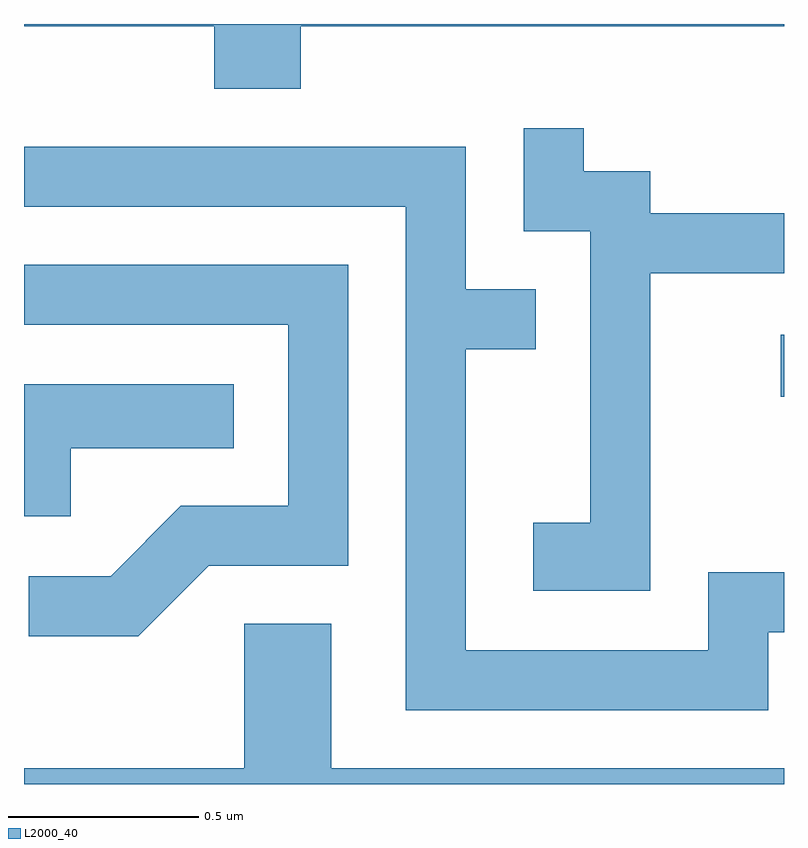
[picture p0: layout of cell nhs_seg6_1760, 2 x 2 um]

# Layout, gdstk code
import gdstk
lib = gdstk.Library(unit=1e-6, precision=1e-09)
def R(c, l, rs):  # rectangles x0, y0, x1, y1
    for r in rs: c.add(gdstk.rectangle(r[:2], r[2:], *l))
def P(c, l, *ps):  # polygons
    for p in ps: c.add(gdstk.Polygon(p, *l))
L2000_40 = (2000, 40)

nhs_seg6_1760 = lib.new_cell('nhs_seg6_1760')
R(nhs_seg6_1760, L2000_40, [(199.603,1651.181,199.611,1651.344)])
P(nhs_seg6_1760, L2000_40, [(198.339,1652.156),(199.611,1652.156),(199.611,1652.162),(197.611,1652.162),(197.611,1652.156),(198.111,1652.156),(198.111,1651.991),(198.339,1651.991)],
  [(199.259,1651.506),(199.611,1651.506),(199.611,1651.664),(199.259,1651.664),(199.259,1651.774),(199.084,1651.774),(199.084,1651.888),(198.926,1651.888),(198.926,1651.616),(199.101,1651.616),(199.101,1650.849),(198.951,1650.849),(198.951,1650.671),(199.259,1650.671)],
  [(199.569,1650.561),(199.611,1650.561),(199.611,1650.719),(199.411,1650.719),(199.411,1650.514),(198.774,1650.514),(198.774,1651.306),(198.958,1651.306),(198.958,1651.464),(198.774,1651.464),(198.774,1651.839),(197.611,1651.839),(197.611,1651.681),(198.616,1651.681),(198.616,1650.356),(199.569,1650.356)],
  [(198.097,1650.736),(198.464,1650.736),(198.464,1651.529),(197.611,1651.529),(197.611,1651.371),(198.306,1651.371),(198.306,1650.894),(198.024,1650.894),(197.839,1650.709),(197.623,1650.709),(197.623,1650.551),(197.912,1650.551)],
  [(197.734,1651.046),(198.163,1651.046),(198.163,1651.214),(197.611,1651.214),(197.611,1650.866),(197.734,1650.866)],
  [(199.611,1650.204),(198.419,1650.204),(198.419,1650.584),(198.191,1650.584),(198.191,1650.204),(197.611,1650.204),(197.611,1650.162),(199.611,1650.162)])

lib.write_gds('nhs_seg6_1760.gds')
